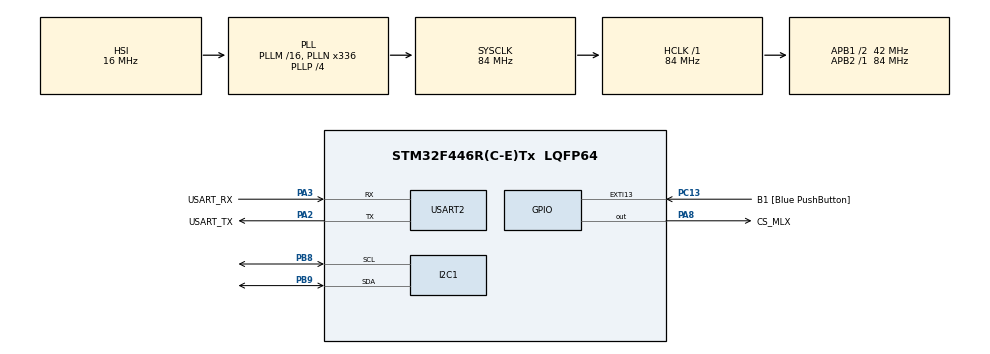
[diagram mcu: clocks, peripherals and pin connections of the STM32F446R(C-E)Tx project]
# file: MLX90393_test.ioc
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Mcu.Family=STM32F4
Mcu.Name=STM32F446R(C-E)Tx
Mcu.Package=LQFP64
NVIC.PriorityGroup=NVIC_PRIORITYGROUP_0
PA13.GPIO_Label=TMS
PA13.Signal=SYS_JTMS-SWDIO
PA14.GPIO_Label=TCK
PA14.Signal=SYS_JTCK-SWCLK
PA2.GPIO_Label=USART_TX
PA2.Mode=Asynchronous
PA2.Signal=USART2_TX
PA3.GPIO_Label=USART_RX
PA3.Mode=Asynchronous
PA3.Signal=USART2_RX
PA8.GPIO_Label=CS_MLX
PA8.GPIO_Speed=GPIO_SPEED_FREQ_LOW
PA8.PinState=GPIO_PIN_SET
PA8.Signal=GPIO_Output
PB3.GPIO_Label=SWO
PB3.Signal=SYS_JTDO-SWO
PB8.Mode=I2C
PB8.Signal=I2C1_SCL
PB9.Mode=I2C
PB9.Signal=I2C1_SDA
PC13.GPIO_Label=B1 [Blue PushButton]
PC13.GPIO_ModeDefaultEXTI=GPIO_MODE_IT_FALLING
PC13.Signal=GPXTI13
PC14-OSC32_IN.Signal=RCC_OSC32_IN
PC15-OSC32_OUT.Signal=RCC_OSC32_OUT
PH0-OSC_IN.Signal=RCC_OSC_IN
PH1-OSC_OUT.Signal=RCC_OSC_OUT
ProjectManager.HeapSize=0x200
ProjectManager.StackSize=0x400
ProjectManager.TargetToolchain=STM32CubeIDE
RCC.AHBFreq_Value=84000000
RCC.APB1CLKDivider=RCC_HCLK_DIV2
RCC.APB1Freq_Value=42000000
RCC.APB1TimFreq_Value=84000000
RCC.APB2Freq_Value=84000000
RCC.APB2TimFreq_Value=84000000
RCC.CortexFreq_Value=84000000
RCC.FLatency-AdvancedSettings=FLASH_LATENCY_2
RCC.HCLKFreq_Value=84000000
RCC.HSE_VALUE=8000000
RCC.HSI_VALUE=16000000
RCC.LSE_VALUE=32768
RCC.PLLN=336
RCC.PLLP=RCC_PLLP_DIV4
RCC.SYSCLKFreq_VALUE=84000000
RCC.SYSCLKSource=RCC_SYSCLKSOURCE_PLLCLK
RCC.USBFreq_Value=168000000
RCC.VCOOutputFreq_Value=336000000
USART2.VirtualMode=VM_ASYNC
board=NUCLEO-F446RE

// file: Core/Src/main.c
/* USER CODE BEGIN Header */
/**
  ******************************************************************************
  * @file           : main.c
  * @brief          : Main program body
  ******************************************************************************
  * @attention
  *
  * Copyright (c) 2026 STMicroelectronics.
  * All rights reserved.
  *
  * This software is licensed under terms that can be found in the LICENSE file
  * in the root directory of this software component.
  * If no LICENSE file comes with this software, it is provided AS-IS.
  *
  ******************************************************************************
  */
/* USER CODE END Header */
#include "main.h"
#include "i2c.h"
#include "usart.h"
#include "gpio.h"

/* USER CODE BEGIN Includes */
#include "MLX90393.h"
#include "sensor_data.h"
#include <stdio.h>

/* USER CODE END Includes */

void SystemClock_Config(void);

/* USER CODE BEGIN 0 */
int __io_putchar(int ch)
{
    HAL_UART_Transmit(&huart2, (uint8_t *)&ch, 1, HAL_MAX_DELAY);
    return ch;
}
/* USER CODE END 0 */

int main(void)
{

  /* MCU Configuration--------------------------------------------------------*/

  /* Reset of all peripherals, Initializes the Flash interface and the Systick. */
  HAL_Init();

  /* Configure the system clock */
  SystemClock_Config();

  /* Initialize all configured peripherals */
  MX_GPIO_Init();
  MX_USART2_UART_Init();
  MX_I2C1_Init();
  /* USER CODE BEGIN 2 */

  printf("\r\n--- MLX90393 I2C Test ---\r\n");

  if (MLX90393_I2C_Test() == HAL_OK)
  {
      printf("MLX90393 I2C: OK\r\n");
  }
  else
  {
      printf("MLX90393 I2C: FAILED\r\n");
  }

  printf("\r\n--- MLX90393 Configure Test ---\r\n");

  /* CONF0 should already be the desired value.
   * We do NOT write CONF0.
   */
  uint16_t conf0;
  uint16_t conf1;
  uint16_t conf2;
  uint16_t conf3;

  /* Read current configuration */
  MLX90393_ReadRegister(MLX90393_REG_CONF0, &conf0);
  MLX90393_ReadRegister(MLX90393_REG_CONF1, &conf1);
  MLX90393_ReadRegister(MLX90393_REG_CONF2, &conf2);
  MLX90393_ReadRegister(MLX90393_REG_CONF3, &conf3);

  printf("Before configuration:\r\n");
  printf("CONF0: 0x%04X\r\n", conf0);
  printf("CONF1: 0x%04X\r\n", conf1);
  printf("CONF2: 0x%04X\r\n", conf2);
  printf("CONF3: 0x%04X\r\n", conf3);

  /* CONF0 = 0x007C is already correct.
   * Only change CONF2.
   */
  printf("\r\nWriting CONF2 = 0x000A...\r\n");

  if (MLX90393_WriteRegister(
          MLX90393_REG_CONF2,
          0x000A) == HAL_OK)
  {
      printf("Write CONF2: OK\r\n");
  }
  else
  {
      printf("Write CONF2: FAILED\r\n");
  }

  /* Read configuration back */
  MLX90393_ReadRegister(MLX90393_REG_CONF0, &conf0);
  MLX90393_ReadRegister(MLX90393_REG_CONF1, &conf1);
  MLX90393_ReadRegister(MLX90393_REG_CONF2, &conf2);
  MLX90393_ReadRegister(MLX90393_REG_CONF3, &conf3);

  printf("\r\nAfter configuration:\r\n");
  printf("CONF0: 0x%04X\r\n", conf0);
  printf("CONF1: 0x%04X\r\n", conf1);
  printf("CONF2: 0x%04X\r\n", conf2);
  printf("CONF3: 0x%04X\r\n", conf3);

  /* Verify expected values */
  if ((conf0 == 0x007C) &&
      (conf1 == 0x0000) &&
      (conf2 == 0x000A) &&
      (conf3 == 0x5644))
  {
      printf("\r\nMLX90393 configuration VERIFIED\r\n");
  }
  else
  {
      printf("\r\nMLX90393 configuration MISMATCH\r\n");
  }

  printf("\r\n--- MLX90393 Raw Magnetometer Test ---\r\n");
  /* USER CODE END 2 */

  /* Infinite loop */
  while (1)
  {

    /* USER CODE BEGIN 3 */
	    if (MLX90393_StartMeasurement() == HAL_OK)
	    {
	        HAL_Delay(10);

	        if (MLX90393_ReadMeasurement(
	                &sensor_data.mag_raw_x,
	                &sensor_data.mag_raw_y,
	                &sensor_data.mag_raw_z) == HAL_OK)
	        {
	            printf(
	                "Mag Raw X: %d | Y: %d | Z: %d\r\n",
	                sensor_data.mag_raw_x,
	                sensor_data.mag_raw_y,
	                sensor_data.mag_raw_z
	            );

	     	   MLX90393_RawTo_uT(
	                &sensor_data.mag_raw_x,
	                &sensor_data.mag_raw_y,
	                &sensor_data.mag_raw_z,
	                &sensor_data.mag_x_uT,
	                &sensor_data.mag_y_uT,
	                &sensor_data.mag_z_uT
	            );

	            printf(
	                "Mag: X = %.2f uT | Y = %.2f uT | Z = %.2f uT\r\n",
	                sensor_data.mag_x_uT,
	                sensor_data.mag_y_uT,
	                sensor_data.mag_z_uT
	            );
	        }
	        else
	        {
	            printf("Mag Read FAILED\r\n");
	        }
	    }
	    else
	    {
	        printf("Mag Start FAILED\r\n");
	    }

	    HAL_Delay(100);
  }
  /* USER CODE END 3 */
}

void SystemClock_Config(void)
{
  RCC_OscInitTypeDef RCC_OscInitStruct = {0};
  RCC_ClkInitTypeDef RCC_ClkInitStruct = {0};

  /** Configure the main internal regulator output voltage
  */
  __HAL_RCC_PWR_CLK_ENABLE();
  __HAL_PWR_VOLTAGESCALING_CONFIG(PWR_REGULATOR_VOLTAGE_SCALE3);

  /** Initializes the RCC Oscillators according to the specified parameters
  * in the RCC_OscInitTypeDef structure.
  */
  RCC_OscInitStruct.OscillatorType = RCC_OSCILLATORTYPE_HSI;
  RCC_OscInitStruct.HSIState = RCC_HSI_ON;
  RCC_OscInitStruct.HSICalibrationValue = RCC_HSICALIBRATION_DEFAULT;
  RCC_OscInitStruct.PLL.PLLState = RCC_PLL_ON;
  RCC_OscInitStruct.PLL.PLLSource = RCC_PLLSOURCE_HSI;
  RCC_OscInitStruct.PLL.PLLM = 16;
  RCC_OscInitStruct.PLL.PLLN = 336;
  RCC_OscInitStruct.PLL.PLLP = RCC_PLLP_DIV4;
  RCC_OscInitStruct.PLL.PLLQ = 2;
  RCC_OscInitStruct.PLL.PLLR = 2;
  if (HAL_RCC_OscConfig(&RCC_OscInitStruct) != HAL_OK)
  {
    Error_Handler();
  }

  /** Initializes the CPU, AHB and APB buses clocks
  */
  RCC_ClkInitStruct.ClockType = RCC_CLOCKTYPE_HCLK|RCC_CLOCKTYPE_SYSCLK
                              |RCC_CLOCKTYPE_PCLK1|RCC_CLOCKTYPE_PCLK2;
  RCC_ClkInitStruct.SYSCLKSource = RCC_SYSCLKSOURCE_PLLCLK;
  RCC_ClkInitStruct.AHBCLKDivider = RCC_SYSCLK_DIV1;
  RCC_ClkInitStruct.APB1CLKDivider = RCC_HCLK_DIV2;
  RCC_ClkInitStruct.APB2CLKDivider = RCC_HCLK_DIV1;

  if (HAL_RCC_ClockConfig(&RCC_ClkInitStruct, FLASH_LATENCY_2) != HAL_OK)
  {
    Error_Handler();
  }
}

void Error_Handler(void)
{
  __disable_irq();
  while (1)
  {
  }
}
